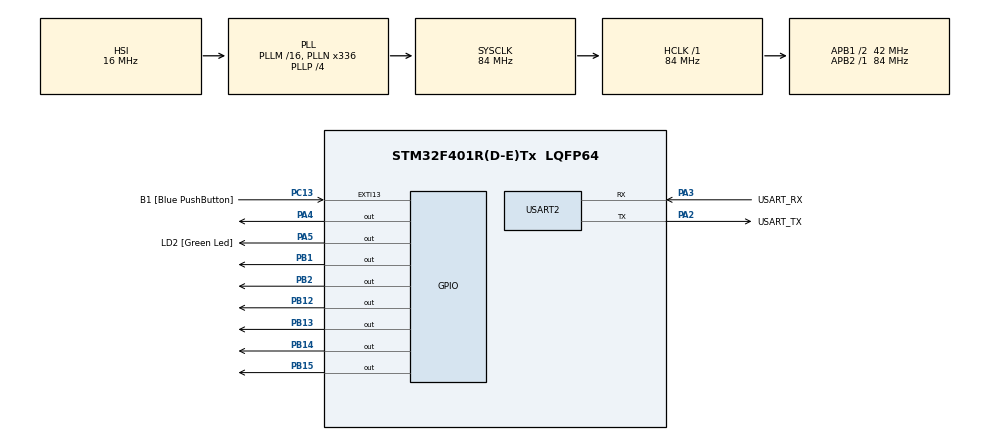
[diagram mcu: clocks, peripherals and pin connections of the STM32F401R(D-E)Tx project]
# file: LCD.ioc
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Mcu.Family=STM32F4
Mcu.Name=STM32F401R(D-E)Tx
Mcu.Package=LQFP64
NVIC.PriorityGroup=NVIC_PRIORITYGROUP_0
PA13.GPIO_Label=TMS
PA13.Mode=Serial_Wire
PA13.Signal=SYS_JTMS-SWDIO
PA14.GPIO_Label=TCK
PA14.Mode=Serial_Wire
PA14.Signal=SYS_JTCK-SWCLK
PA2.GPIO_Label=USART_TX
PA2.GPIO_Mode=GPIO_MODE_AF_PP
PA2.GPIO_PuPd=GPIO_NOPULL
PA2.GPIO_Speed=GPIO_SPEED_FREQ_LOW
PA2.Mode=Asynchronous
PA2.Signal=USART2_TX
PA3.GPIO_Label=USART_RX
PA3.GPIO_Mode=GPIO_MODE_AF_PP
PA3.GPIO_PuPd=GPIO_NOPULL
PA3.GPIO_Speed=GPIO_SPEED_FREQ_LOW
PA3.Mode=Asynchronous
PA3.Signal=USART2_RX
PA4.Signal=GPIO_Output
PA5.GPIO_Label=LD2 [Green Led]
PA5.GPIO_Mode=GPIO_MODE_OUTPUT_PP
PA5.GPIO_PuPd=GPIO_NOPULL
PA5.GPIO_Speed=GPIO_SPEED_FREQ_LOW
PA5.Signal=GPIO_Output
PB1.Signal=GPIO_Output
PB12.Signal=GPIO_Output
PB13.Signal=GPIO_Output
PB14.Signal=GPIO_Output
PB15.Signal=GPIO_Output
PB2.Signal=GPIO_Output
PB3.GPIO_Label=SWO
PB3.Signal=SYS_JTDO-SWO
PC13-ANTI_TAMP.GPIO_Label=B1 [Blue PushButton]
PC13-ANTI_TAMP.GPIO_ModeDefaultEXTI=GPIO_MODE_IT_FALLING
PC13-ANTI_TAMP.GPIO_PuPd=GPIO_NOPULL
PC13-ANTI_TAMP.Signal=GPXTI13
PC14-OSC32_IN.Mode=LSE-External-Oscillator
PC14-OSC32_IN.Signal=RCC_OSC32_IN
PC15-OSC32_OUT.Mode=LSE-External-Oscillator
PC15-OSC32_OUT.Signal=RCC_OSC32_OUT
PH0\ -\ OSC_IN.Mode=HSE-External-Clock-Source
PH0\ -\ OSC_IN.Signal=RCC_OSC_IN
PH1\ -\ OSC_OUT.Mode=HSE-External-Clock-Source
PH1\ -\ OSC_OUT.Signal=RCC_OSC_OUT
ProjectManager.HeapSize=0x200
ProjectManager.StackSize=0x400
ProjectManager.TargetToolchain=STM32CubeIDE
RCC.48MHZClocksFreq_Value=48000000
RCC.AHBFreq_Value=84000000
RCC.APB1CLKDivider=RCC_HCLK_DIV2
RCC.APB1Freq_Value=42000000
RCC.APB1TimFreq_Value=84000000
RCC.APB2Freq_Value=84000000
RCC.APB2TimFreq_Value=84000000
RCC.CortexFreq_Value=84000000
RCC.HCLKFreq_Value=84000000
RCC.HSE_VALUE=8000000
RCC.HSI_VALUE=16000000
RCC.PLLN=336
RCC.PLLP=RCC_PLLP_DIV4
RCC.PLLQ=7
RCC.SYSCLKFreq_VALUE=84000000
RCC.SYSCLKSource=RCC_SYSCLKSOURCE_PLLCLK
RCC.VCOOutputFreq_Value=336000000
USART2.VirtualMode=VM_ASYNC
board=NUCLEO-F401RE

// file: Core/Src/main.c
/* USER CODE BEGIN Header */
/**
  ******************************************************************************
  * @file           : main.c
  * @brief          : Main program body
  ******************************************************************************
  * @attention
  *
  * <h2><center>&copy; Copyright (c) 2021 STMicroelectronics.
  * All rights reserved.</center></h2>
  *
  * This software component is licensed by ST under BSD 3-Clause license,
  * the "License"; You may not use this file except in compliance with the
  * License. You may obtain a copy of the License at:
  *                        opensource.org/licenses/BSD-3-Clause
  *
  ******************************************************************************
  */
/* USER CODE END Header */
#include "main.h"

/* USER CODE BEGIN Includes */
#include "PMDB16_LCD.h"
/* USER CODE END Includes */

UART_HandleTypeDef huart2;

void SystemClock_Config(void);
static void MX_GPIO_Init(void);
static void MX_USART2_UART_Init(void);

int main(void)
{

  /* MCU Configuration--------------------------------------------------------*/

  /* Reset of all peripherals, Initializes the Flash interface and the Systick. */
  HAL_Init();

  /* Configure the system clock */
  SystemClock_Config();

  /* Initialize all configured peripherals */
  MX_GPIO_Init();
  MX_USART2_UART_Init();
  /* USER CODE BEGIN 2 */
  lcd_initialize();

  /* USER CODE END 2 */

  /* Infinite loop */
  /* USER CODE BEGIN WHILE */
  while (1)
  {
	  lcd_clear();
	  lcd_println("Lorenzo", 1);
	  HAL_Delay(1000);

	  lcd_println("Lorenzo", 0);
	  lcd_println("Luca", 1);
	  HAL_Delay(1000);

	  lcd_println("Luca", 0);
	  lcd_println("Manimegalai", 1);
	  HAL_Delay(1000);

	  lcd_println("Manimegalai", 0);
	  lcd_println("Mayura", 1);
	  HAL_Delay(1000);

	  lcd_println("Mayura", 0);
	  lcd_println("Prabhat", 1);
	  HAL_Delay(1000);

	  lcd_println("Prabhat", 0);
	  lcd_println("Yazan", 1);
	  HAL_Delay(1000);

	  lcd_println("Yazan", 0);
	  lcd_println("Lorenzo", 1);
	  HAL_Delay(1000);

    /* USER CODE END WHILE */

  }
}

void SystemClock_Config(void)
{
  RCC_OscInitTypeDef RCC_OscInitStruct = {0};
  RCC_ClkInitTypeDef RCC_ClkInitStruct = {0};

  /** Configure the main internal regulator output voltage
  */
  __HAL_RCC_PWR_CLK_ENABLE();
  __HAL_PWR_VOLTAGESCALING_CONFIG(PWR_REGULATOR_VOLTAGE_SCALE2);
  /** Initializes the RCC Oscillators according to the specified parameters
  * in the RCC_OscInitTypeDef structure.
  */
  RCC_OscInitStruct.OscillatorType = RCC_OSCILLATORTYPE_HSI;
  RCC_OscInitStruct.HSIState = RCC_HSI_ON;
  RCC_OscInitStruct.HSICalibrationValue = RCC_HSICALIBRATION_DEFAULT;
  RCC_OscInitStruct.PLL.PLLState = RCC_PLL_ON;
  RCC_OscInitStruct.PLL.PLLSource = RCC_PLLSOURCE_HSI;
  RCC_OscInitStruct.PLL.PLLM = 16;
  RCC_OscInitStruct.PLL.PLLN = 336;
  RCC_OscInitStruct.PLL.PLLP = RCC_PLLP_DIV4;
  RCC_OscInitStruct.PLL.PLLQ = 7;
  if (HAL_RCC_OscConfig(&RCC_OscInitStruct) != HAL_OK)
  {
    Error_Handler();
  }
  /** Initializes the CPU, AHB and APB buses clocks
  */
  RCC_ClkInitStruct.ClockType = RCC_CLOCKTYPE_HCLK|RCC_CLOCKTYPE_SYSCLK
                              |RCC_CLOCKTYPE_PCLK1|RCC_CLOCKTYPE_PCLK2;
  RCC_ClkInitStruct.SYSCLKSource = RCC_SYSCLKSOURCE_PLLCLK;
  RCC_ClkInitStruct.AHBCLKDivider = RCC_SYSCLK_DIV1;
  RCC_ClkInitStruct.APB1CLKDivider = RCC_HCLK_DIV2;
  RCC_ClkInitStruct.APB2CLKDivider = RCC_HCLK_DIV1;

  if (HAL_RCC_ClockConfig(&RCC_ClkInitStruct, FLASH_LATENCY_2) != HAL_OK)
  {
    Error_Handler();
  }
}

static void MX_USART2_UART_Init(void)
{

  huart2.Instance = USART2;
  huart2.Init.BaudRate = 115200;
  huart2.Init.WordLength = UART_WORDLENGTH_8B;
  huart2.Init.StopBits = UART_STOPBITS_1;
  huart2.Init.Parity = UART_PARITY_NONE;
  huart2.Init.Mode = UART_MODE_TX_RX;
  huart2.Init.HwFlowCtl = UART_HWCONTROL_NONE;
  huart2.Init.OverSampling = UART_OVERSAMPLING_16;
  if (HAL_UART_Init(&huart2) != HAL_OK)
  {
    Error_Handler();
  }

}

static void MX_GPIO_Init(void)
{
  GPIO_InitTypeDef GPIO_InitStruct = {0};

  /* GPIO Ports Clock Enable */
  __HAL_RCC_GPIOC_CLK_ENABLE();
  __HAL_RCC_GPIOH_CLK_ENABLE();
  __HAL_RCC_GPIOA_CLK_ENABLE();
  __HAL_RCC_GPIOB_CLK_ENABLE();

  /*Configure GPIO pin Output Level */
  HAL_GPIO_WritePin(GPIOA, GPIO_PIN_4|LD2_Pin, GPIO_PIN_RESET);

  /*Configure GPIO pin Output Level */
  HAL_GPIO_WritePin(GPIOB, GPIO_PIN_1|GPIO_PIN_2|GPIO_PIN_12|GPIO_PIN_13
                          |GPIO_PIN_14|GPIO_PIN_15, GPIO_PIN_RESET);

  /*Configure GPIO pin : B1_Pin */
  GPIO_InitStruct.Pin = B1_Pin;
  GPIO_InitStruct.Mode = GPIO_MODE_IT_FALLING;
  GPIO_InitStruct.Pull = GPIO_NOPULL;
  HAL_GPIO_Init(B1_GPIO_Port, &GPIO_InitStruct);

  /*Configure GPIO pins : PA4 LD2_Pin */
  GPIO_InitStruct.Pin = GPIO_PIN_4|LD2_Pin;
  GPIO_InitStruct.Mode = GPIO_MODE_OUTPUT_PP;
  GPIO_InitStruct.Pull = GPIO_NOPULL;
  GPIO_InitStruct.Speed = GPIO_SPEED_FREQ_LOW;
  HAL_GPIO_Init(GPIOA, &GPIO_InitStruct);

  /*Configure GPIO pins : PB1 PB2 PB12 PB13
                           PB14 PB15 */
  GPIO_InitStruct.Pin = GPIO_PIN_1|GPIO_PIN_2|GPIO_PIN_12|GPIO_PIN_13
                          |GPIO_PIN_14|GPIO_PIN_15;
  GPIO_InitStruct.Mode = GPIO_MODE_OUTPUT_PP;
  GPIO_InitStruct.Pull = GPIO_NOPULL;
  GPIO_InitStruct.Speed = GPIO_SPEED_FREQ_LOW;
  HAL_GPIO_Init(GPIOB, &GPIO_InitStruct);

}

void Error_Handler(void)
{
  __disable_irq();
  while (1)
  {
  }
}

/************************ (C) COPYRIGHT STMicroelectronics *****END OF FILE****/
